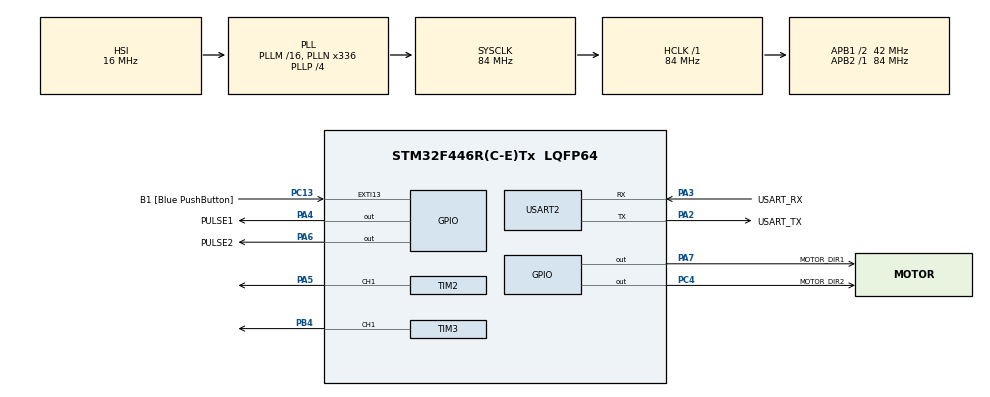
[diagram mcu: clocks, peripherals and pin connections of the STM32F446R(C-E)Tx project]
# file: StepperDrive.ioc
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Mcu.Family=STM32F4
Mcu.Name=STM32F446R(C-E)Tx
Mcu.Package=LQFP64
NVIC.PriorityGroup=NVIC_PRIORITYGROUP_0
NVIC.TIM2_IRQn=true\:0\:0\:false\:false\:true\:true\:true\:true
NVIC.TIM3_IRQn=true\:0\:0\:false\:false\:true\:true\:true\:true
NVIC.USART2_IRQn=true\:0\:0\:false\:false\:true\:true\:true\:true
PA2.GPIO_Label=USART_TX
PA2.Mode=Asynchronous
PA2.Signal=USART2_TX
PA3.GPIO_Label=USART_RX
PA3.Mode=Asynchronous
PA3.Signal=USART2_RX
PA4.GPIO_Label=PULSE1
PA4.Signal=GPIO_Output
PA5.Signal=S_TIM2_CH1_ETR
PA6.GPIO_Label=PULSE2
PA6.Signal=GPIO_Output
PA7.GPIO_Label=MOTOR_DIR1
PA7.Signal=GPIO_Output
PB4.Signal=S_TIM3_CH1
PC13.GPIO_Label=B1 [Blue PushButton]
PC13.GPIO_ModeDefaultEXTI=GPIO_MODE_IT_FALLING
PC13.Signal=GPXTI13
PC4.GPIO_Label=MOTOR_DIR2
PC4.Signal=GPIO_Output
ProjectManager.HeapSize=0x200
ProjectManager.StackSize=0x400
ProjectManager.TargetToolchain=STM32CubeIDE
RCC.48MHZClocksFreq_Value=84000000
RCC.AHBFreq_Value=84000000
RCC.APB1CLKDivider=RCC_HCLK_DIV2
RCC.APB1Freq_Value=42000000
RCC.APB1TimFreq_Value=84000000
RCC.APB2Freq_Value=84000000
RCC.APB2TimFreq_Value=84000000
RCC.CortexFreq_Value=84000000
RCC.FLatency-AdvancedSettings=FLASH_LATENCY_2
RCC.HCLKFreq_Value=84000000
RCC.HSE_VALUE=8000000
RCC.HSI_VALUE=16000000
RCC.PLLN=336
RCC.PLLP=RCC_PLLP_DIV4
RCC.SYSCLKFreq_VALUE=84000000
RCC.SYSCLKSource=RCC_SYSCLKSOURCE_PLLCLK
RCC.USBFreq_Value=168000000
RCC.VCOOutputFreq_Value=336000000
SH.S_TIM2_CH1_ETR.0=TIM2_CH1,PWM Generation1 CH1
SH.S_TIM3_CH1.0=TIM3_CH1,PWM Generation1 CH1
TIM2.Channel-PWM\ Generation1\ CH1=TIM_CHANNEL_1
TIM2.Period=10000
TIM2.Prescaler=42000
TIM3.Channel-PWM\ Generation1\ CH1=TIM_CHANNEL_1
TIM3.Period=1000
TIM3.Prescaler=4200
USART2.VirtualMode=VM_ASYNC
VP_TIM2_VS_ClockSourceINT.Mode=Internal
VP_TIM3_VS_ClockSourceINT.Mode=Internal
board=NUCLEO-F446RE

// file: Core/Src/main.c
/* USER CODE BEGIN Header */
/**
  ******************************************************************************
  * @file           : main.c
  * @brief          : Main program body
  ******************************************************************************
  * @attention
  *
  * Copyright (c) 2022 STMicroelectronics.
  * All rights reserved.
  *
  * This software is licensed under terms that can be found in the LICENSE file
  * in the root directory of this software component.
  * If no LICENSE file comes with this software, it is provided AS-IS.
  *
  ******************************************************************************
  */
/* USER CODE END Header */
#include "main.h"

/* USER CODE BEGIN Includes */
#include "A4988.h"

/* USER CODE END Includes */

/* USER CODE BEGIN PTD */
void HAL_TIM_PeriodElapsedCallback(TIM_HandleTypeDef *htim);
//void HAL_UART_RxCpltCallback(UART_HandleTypeDef *huart);
/* USER CODE END PTD */

TIM_HandleTypeDef htim2;
TIM_HandleTypeDef htim3;

UART_HandleTypeDef huart2;

void SystemClock_Config(void);
static void MX_GPIO_Init(void);
static void MX_USART2_UART_Init(void);
static void MX_TIM3_Init(void);
static void MX_TIM2_Init(void);

/* USER CODE BEGIN 0 */
uint8_t uart2_buffer[256];
uint8_t uart2_timeout = 0xFF;
int gUartReceived = 0;
/* USER CODE END 0 */

int main(void)
{
  /* USER CODE BEGIN 1 */

	StepperDriverPins spdv1_pins = {PULSE1_Pin,PULSE1_Pin,PULSE1_Pin,PULSE1_Pin,PULSE1_Pin,PULSE1_Pin};
	StepperDriverPorts spdv1_ports = {PULSE1_GPIO_Port,PULSE1_GPIO_Port,PULSE1_GPIO_Port,PULSE1_GPIO_Port,PULSE1_GPIO_Port,PULSE1_GPIO_Port};
	StepperDriver spdv1;
	stepperDriver_Config(&spdv1,spdv1_pins,spdv1_ports,200);
  /* USER CODE END 1 */

  /* MCU Configuration--------------------------------------------------------*/

  /* Reset of all peripherals, Initializes the Flash interface and the Systick. */
  HAL_Init();

  /* Configure the system clock */
  SystemClock_Config();

  /* Initialize all configured peripherals */
  MX_GPIO_Init();
  MX_USART2_UART_Init();
  MX_TIM3_Init();
  MX_TIM2_Init();
  /* USER CODE BEGIN 2 */

  HAL_TIM_Base_Start_IT(&htim2);
  HAL_TIM_Base_Start_IT(&htim3);
  /* USER CODE END 2 */

  /* Infinite loop */
  /* USER CODE BEGIN WHILE */
  while (1)
  {
		HAL_UART_Receive_IT(&huart2, uart2_buffer, 1);

		//HAL_UART_Transmit_IT(&huart2, buffer, 2);
		gUartReceived = 0;

	  //HAL_GPIO_WritePin(LED1_GPIO_Port, LED1_Pin, GPIO_PIN_SET);
	  //HAL_Delay(200);
	  //HAL_GPIO_WritePin(LED1_GPIO_Port, LED1_Pin, GPIO_PIN_RESET);
	  //HAL_Delay(200);

    /* USER CODE END WHILE */

  }
}

void SystemClock_Config(void)
{
  RCC_OscInitTypeDef RCC_OscInitStruct = {0};
  RCC_ClkInitTypeDef RCC_ClkInitStruct = {0};

  /** Configure the main internal regulator output voltage
  */
  __HAL_RCC_PWR_CLK_ENABLE();
  __HAL_PWR_VOLTAGESCALING_CONFIG(PWR_REGULATOR_VOLTAGE_SCALE3);

  /** Initializes the RCC Oscillators according to the specified parameters
  * in the RCC_OscInitTypeDef structure.
  */
  RCC_OscInitStruct.OscillatorType = RCC_OSCILLATORTYPE_HSI;
  RCC_OscInitStruct.HSIState = RCC_HSI_ON;
  RCC_OscInitStruct.HSICalibrationValue = RCC_HSICALIBRATION_DEFAULT;
  RCC_OscInitStruct.PLL.PLLState = RCC_PLL_ON;
  RCC_OscInitStruct.PLL.PLLSource = RCC_PLLSOURCE_HSI;
  RCC_OscInitStruct.PLL.PLLM = 16;
  RCC_OscInitStruct.PLL.PLLN = 336;
  RCC_OscInitStruct.PLL.PLLP = RCC_PLLP_DIV4;
  RCC_OscInitStruct.PLL.PLLQ = 2;
  RCC_OscInitStruct.PLL.PLLR = 2;
  if (HAL_RCC_OscConfig(&RCC_OscInitStruct) != HAL_OK)
  {
    Error_Handler();
  }

  /** Initializes the CPU, AHB and APB buses clocks
  */
  RCC_ClkInitStruct.ClockType = RCC_CLOCKTYPE_HCLK|RCC_CLOCKTYPE_SYSCLK
                              |RCC_CLOCKTYPE_PCLK1|RCC_CLOCKTYPE_PCLK2;
  RCC_ClkInitStruct.SYSCLKSource = RCC_SYSCLKSOURCE_PLLCLK;
  RCC_ClkInitStruct.AHBCLKDivider = RCC_SYSCLK_DIV1;
  RCC_ClkInitStruct.APB1CLKDivider = RCC_HCLK_DIV2;
  RCC_ClkInitStruct.APB2CLKDivider = RCC_HCLK_DIV1;

  if (HAL_RCC_ClockConfig(&RCC_ClkInitStruct, FLASH_LATENCY_2) != HAL_OK)
  {
    Error_Handler();
  }
}

static void MX_TIM2_Init(void)
{

  TIM_ClockConfigTypeDef sClockSourceConfig = {0};
  TIM_MasterConfigTypeDef sMasterConfig = {0};
  TIM_OC_InitTypeDef sConfigOC = {0};

  htim2.Instance = TIM2;
  htim2.Init.Prescaler = 42000;
  htim2.Init.CounterMode = TIM_COUNTERMODE_UP;
  htim2.Init.Period = 10000;
  htim2.Init.ClockDivision = TIM_CLOCKDIVISION_DIV1;
  htim2.Init.AutoReloadPreload = TIM_AUTORELOAD_PRELOAD_DISABLE;
  if (HAL_TIM_Base_Init(&htim2) != HAL_OK)
  {
    Error_Handler();
  }
  sClockSourceConfig.ClockSource = TIM_CLOCKSOURCE_INTERNAL;
  if (HAL_TIM_ConfigClockSource(&htim2, &sClockSourceConfig) != HAL_OK)
  {
    Error_Handler();
  }
  if (HAL_TIM_PWM_Init(&htim2) != HAL_OK)
  {
    Error_Handler();
  }
  sMasterConfig.MasterOutputTrigger = TIM_TRGO_RESET;
  sMasterConfig.MasterSlaveMode = TIM_MASTERSLAVEMODE_DISABLE;
  if (HAL_TIMEx_MasterConfigSynchronization(&htim2, &sMasterConfig) != HAL_OK)
  {
    Error_Handler();
  }
  sConfigOC.OCMode = TIM_OCMODE_PWM1;
  sConfigOC.Pulse = 0;
  sConfigOC.OCPolarity = TIM_OCPOLARITY_HIGH;
  sConfigOC.OCFastMode = TIM_OCFAST_DISABLE;
  if (HAL_TIM_PWM_ConfigChannel(&htim2, &sConfigOC, TIM_CHANNEL_1) != HAL_OK)
  {
    Error_Handler();
  }
  HAL_TIM_MspPostInit(&htim2);

}

static void MX_TIM3_Init(void)
{

  TIM_ClockConfigTypeDef sClockSourceConfig = {0};
  TIM_MasterConfigTypeDef sMasterConfig = {0};
  TIM_OC_InitTypeDef sConfigOC = {0};

  htim3.Instance = TIM3;
  htim3.Init.Prescaler = 4200;
  htim3.Init.CounterMode = TIM_COUNTERMODE_UP;
  htim3.Init.Period = 1000;
  htim3.Init.ClockDivision = TIM_CLOCKDIVISION_DIV1;
  htim3.Init.AutoReloadPreload = TIM_AUTORELOAD_PRELOAD_DISABLE;
  if (HAL_TIM_Base_Init(&htim3) != HAL_OK)
  {
    Error_Handler();
  }
  sClockSourceConfig.ClockSource = TIM_CLOCKSOURCE_INTERNAL;
  if (HAL_TIM_ConfigClockSource(&htim3, &sClockSourceConfig) != HAL_OK)
  {
    Error_Handler();
  }
  if (HAL_TIM_PWM_Init(&htim3) != HAL_OK)
  {
    Error_Handler();
  }
  sMasterConfig.MasterOutputTrigger = TIM_TRGO_RESET;
  sMasterConfig.MasterSlaveMode = TIM_MASTERSLAVEMODE_DISABLE;
  if (HAL_TIMEx_MasterConfigSynchronization(&htim3, &sMasterConfig) != HAL_OK)
  {
    Error_Handler();
  }
  sConfigOC.OCMode = TIM_OCMODE_PWM1;
  sConfigOC.Pulse = 0;
  sConfigOC.OCPolarity = TIM_OCPOLARITY_HIGH;
  sConfigOC.OCFastMode = TIM_OCFAST_DISABLE;
  if (HAL_TIM_PWM_ConfigChannel(&htim3, &sConfigOC, TIM_CHANNEL_1) != HAL_OK)
  {
    Error_Handler();
  }
  HAL_TIM_MspPostInit(&htim3);

}

static void MX_USART2_UART_Init(void)
{

  huart2.Instance = USART2;
  huart2.Init.BaudRate = 115200;
  huart2.Init.WordLength = UART_WORDLENGTH_8B;
  huart2.Init.StopBits = UART_STOPBITS_1;
  huart2.Init.Parity = UART_PARITY_NONE;
  huart2.Init.Mode = UART_MODE_TX_RX;
  huart2.Init.HwFlowCtl = UART_HWCONTROL_NONE;
  huart2.Init.OverSampling = UART_OVERSAMPLING_16;
  if (HAL_UART_Init(&huart2) != HAL_OK)
  {
    Error_Handler();
  }

}

static void MX_GPIO_Init(void)
{
  GPIO_InitTypeDef GPIO_InitStruct = {0};

  /* GPIO Ports Clock Enable */
  __HAL_RCC_GPIOC_CLK_ENABLE();
  __HAL_RCC_GPIOA_CLK_ENABLE();
  __HAL_RCC_GPIOB_CLK_ENABLE();

  /*Configure GPIO pin Output Level */
  HAL_GPIO_WritePin(GPIOA, PULSE1_Pin|PULSE2_Pin|MOTOR_DIR1_Pin, GPIO_PIN_RESET);

  /*Configure GPIO pin Output Level */
  HAL_GPIO_WritePin(MOTOR_DIR2_GPIO_Port, MOTOR_DIR2_Pin, GPIO_PIN_RESET);

  /*Configure GPIO pin : B1_Pin */
  GPIO_InitStruct.Pin = B1_Pin;
  GPIO_InitStruct.Mode = GPIO_MODE_IT_FALLING;
  GPIO_InitStruct.Pull = GPIO_NOPULL;
  HAL_GPIO_Init(B1_GPIO_Port, &GPIO_InitStruct);

  /*Configure GPIO pins : PULSE1_Pin PULSE2_Pin MOTOR_DIR1_Pin */
  GPIO_InitStruct.Pin = PULSE1_Pin|PULSE2_Pin|MOTOR_DIR1_Pin;
  GPIO_InitStruct.Mode = GPIO_MODE_OUTPUT_PP;
  GPIO_InitStruct.Pull = GPIO_NOPULL;
  GPIO_InitStruct.Speed = GPIO_SPEED_FREQ_LOW;
  HAL_GPIO_Init(GPIOA, &GPIO_InitStruct);

  /*Configure GPIO pin : MOTOR_DIR2_Pin */
  GPIO_InitStruct.Pin = MOTOR_DIR2_Pin;
  GPIO_InitStruct.Mode = GPIO_MODE_OUTPUT_PP;
  GPIO_InitStruct.Pull = GPIO_NOPULL;
  GPIO_InitStruct.Speed = GPIO_SPEED_FREQ_LOW;
  HAL_GPIO_Init(MOTOR_DIR2_GPIO_Port, &GPIO_InitStruct);

}

/* USER CODE BEGIN 4 */

void HAL_TIM_PeriodElapsedCallback(TIM_HandleTypeDef *htim)
{

    if (htim == &htim2){
        HAL_GPIO_TogglePin(PULSE1_GPIO_Port, PULSE1_Pin);//ピン�?�出力を切り替�?�
    }
    if (htim == &htim3){
        HAL_GPIO_TogglePin(PULSE2_GPIO_Port, PULSE2_Pin);//ピン�?�出力を切り替�?�
    }
}

//uart�?�信完了�?�割り込�?�
void HAL_UART_RxCpltCallback(UART_HandleTypeDef *huart)
{
	gUartReceived = 1;
	uint8_t rn[] = {"\r\n"};
	HAL_UART_Transmit(&huart2, uart2_buffer,sizeof(uart2_buffer) , uart2_timeout);
	HAL_UART_Transmit(&huart2, rn, sizeof(rn), uart2_timeout);
}

/* USER CODE END 4 */

void Error_Handler(void)
{
  __disable_irq();
  while (1)
  {
  }
}
